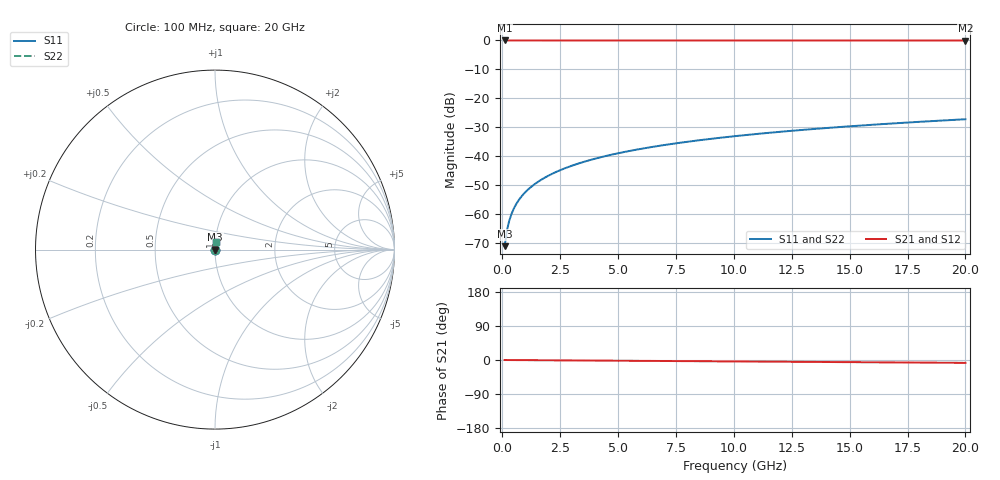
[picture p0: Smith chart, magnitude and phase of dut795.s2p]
! Touchstone file exported from HFSS 2026.1.0
!  File:  C:/ffzhzh/LocalFiles/Ansys_Project_Files/temp_train_TSV_795_1783183951_43440.aedt
!  Generated:  12:54:11 AM Jul  5, 2026
!  Design:  TSV
!  Project:  temp_train_TSV_795_1783183951_43440
! Variables:
!  h_bsmrdl = 2um
!  h_ox = 20um
!  h_rdl = 5um
!  h_sub = 64.6um
!  h_tmrdl = 5um
!  h_tsv = 64.6um
!  h_via = 3um
!  l_bsmrdl = 300um
!  l_sub = 419.24um
!  l_tmrdl = 200um
!  m_sub = 200um
!  pitch = 58.11um
!  r_tsv = 9.62um
!  s_tmrdl = 10um
!  w_bsmrdl = 18um
!  w_sub = 500um
!  w_tmrdl = 12um
!  x_tsv_center1 = 206um
!  x_tsv_center2 = 524um
!  x_tsv_center3 = 736um
!  x_tsv_center4 = 1054um
!  x_tsv_center5 = 1266um
!  x_tsv_center6 = 1584um
# GHz S MA R 50.000000
! Terminal data exported
! Port[1] = TSV1_1_T1
! Port[2] = TSV1_1_T2
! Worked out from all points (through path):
!   200 points, 100 MHz to 20 GHz, reference 50 ohm
!   highest |S21| = 0.00 dB at 100 MHz (marker M1); lowest = 0.0 dB at 20 GHz (marker M2)
!   group delay of S21, straight-line fit = 1.05 ps
!   lowest |S11| = -71.2 dB at 100 MHz (marker M3), VSWR 1.00, Z = 50 + j0.0251 ohm
!   |S11| at or under -10 dB: start of sweep to end of sweep
!   |S22| runs from -71.2 to -27.3 dB; largest |S21 - S12| = 3.6e-15
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0.1  0.0002751 65.8  0.9999 -0.0  0.9999 -0.0  0.0002751 65.8
! Gamma 0 0 0 0
! Port Impedance 50 0 50 0
0.2  0.0005147 76.3  0.9999 -0.1  0.9999 -0.1  0.0005147 76.3
0.3  0.000758 79.7  0.9999 -0.1  0.9999 -0.1  0.000758 79.7
0.4  0.000999 81.2  0.9998 -0.2  0.9998 -0.2  0.000999 81.2
0.5  0.001236 82.0  0.9998 -0.2  0.9998 -0.2  0.001236 82.0
0.6  0.00147 82.4  0.9998 -0.2  0.9998 -0.2  0.00147 82.4
0.7  0.0017 82.8  0.9998 -0.3  0.9998 -0.3  0.0017 82.8
0.8  0.001928 83.1  0.9998 -0.3  0.9998 -0.3  0.001928 83.1
1  0.002377 83.5  0.9997 -0.4  0.9997 -0.4  0.002377 83.5
1.4  0.003264 84.2  0.9997 -0.5  0.9997 -0.5  0.003264 84.2
1.7  0.003925 84.6  0.9997 -0.7  0.9997 -0.7  0.003925 84.6
2  0.004586 84.9  0.9996 -0.8  0.9996 -0.8  0.004586 84.9
2.7  0.006126 85.3  0.9996 -1.0  0.9996 -1.0  0.006126 85.3
3.5  0.007882 85.4  0.9995 -1.3  0.9995 -1.3  0.007882 85.4
4.2  0.009414 85.4  0.9995 -1.6  0.9995 -1.6  0.009414 85.4
5  0.01116 85.4  0.9994 -1.9  0.9994 -1.9  0.01116 85.4
6.8  0.01506 85.0  0.9993 -2.6  0.9993 -2.6  0.01506 85.0
8.3  0.0183 84.7  0.9991 -3.1  0.9991 -3.1  0.0183 84.7
10.1  0.02218 84.2  0.999 -3.8  0.999 -3.8  0.02218 84.2
13.4  0.02925 83.2  0.9987 -5.1  0.9987 -5.1  0.02925 83.2
16.7  0.03628 82.2  0.9984 -6.3  0.9984 -6.3  0.03628 82.2
20  0.04327 81.0  0.998 -7.5  0.998 -7.5  0.04327 81.0
